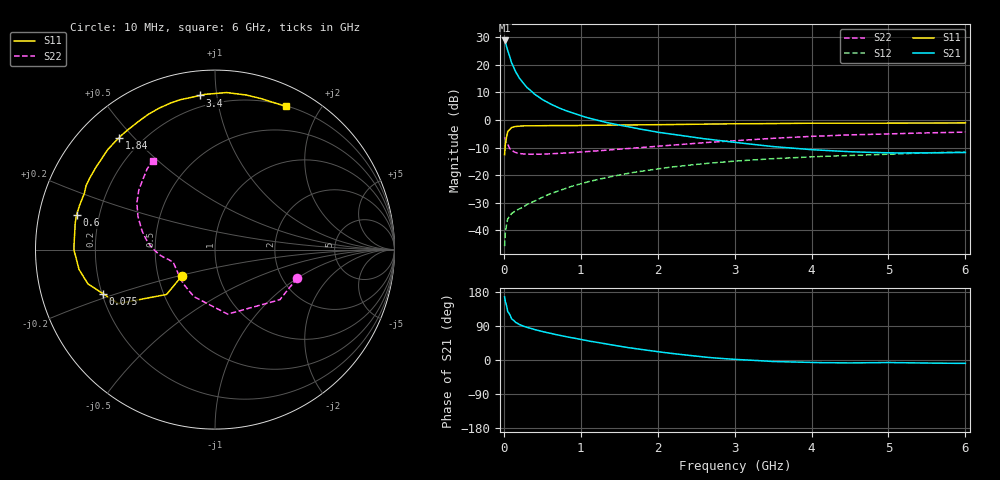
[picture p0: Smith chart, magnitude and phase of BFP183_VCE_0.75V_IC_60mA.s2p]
! Infineon Technologies  Discrete & RF Semiconductors
! BFP183
! VCE = 0.75V,  IC =  60 mA
! Common Emitter S-Parameters:  Jan 2016
# GHz  S  MA  R  50
!  f  S11  S21  S12  S22
! GHz  MAG  ANG  MAG  ANG  MAG  ANG  MAG  ANG
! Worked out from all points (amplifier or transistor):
!   210 points, 10 MHz to 6 GHz, reference 50 ohm
!   highest |S21| = 28.8 dB at 10 MHz (marker M1)
!   |S21| within 3 dB of that: start of sweep to 43.28 MHz
!   unconditionally stable (mu >= 1): start of sweep to 44.65 MHz; 104.6 MHz to end of sweep
!   at 185 MHz: K = 1.33, MAG = 20.8 dB, |S12| = -32.4 dB
!   at 1.52 GHz: K = 2.07, MAG = 3.1 dB, |S12| = -19.8 dB
!   at 6 GHz: K = 1.51, MAG = -4.3 dB, |S12| = -11.6 dB
!   S11 on the Smith chart (normalised r, x): 10 MHz: 0.66, -0.21; 75 MHz: 0.20, -0.18; 600 MHz: 0.12, +0.12; 1.84 GHz: 0.12, +0.46; 3.4 GHz: 0.13, +0.90; 6 GHz: 0.21, +1.59
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0.01  0.2365 -141.5  27.67 166.4  0.0052 59.4  0.4846 -19.2
0.02  0.3677 -137.2  25.77 154.0  0.0093 58.4  0.4566 -37.7
0.05  0.6168 -150.8  18.34 127.9  0.0162 46.1  0.3663 -78.9
0.075  0.6699 -158.5  14.44 120.8  0.0181 41.0  0.3115 -94.4
0.1  0.7332 -164.9  10.92 108.8  0.0202 36.9  0.2871 -114.3
0.15  0.7657 -171.7  7.61 99.6  0.0227 37.8  0.2599 -132.4
0.2  0.7746 -176.4  5.798 93.8  0.0246 41.7  0.2488 -142.2
0.24  0.7837 -179.1  4.892 90.4  0.026 43.6  0.2443 -147.2
0.3  0.786 177.5  3.898 86.0  0.0295 47.5  0.2413 -152.9
0.4  0.787 173.1  2.941 80.0  0.0341 51.6  0.2408 -158.1
0.5  0.7927 169.4  2.355 75.1  0.04 54.2  0.2415 -161.1
0.6  0.7952 166.0  1.978 70.4  0.046 56.3  0.2446 -163.2
0.8  0.793 159.8  1.49 61.9  0.0575 58.3  0.2532 -165.7
1.02  0.8021 153.0  1.176 53.5  0.0713 58.3  0.265 -168.0
1.3  0.8068 145.2  0.926 43.3  0.0888 56.8  0.2827 -170.5
1.84  0.8212 130.5  0.662 26.5  0.1213 51.2  0.3235 -177.1
2.02  0.8254 125.7  0.597 21.4  0.1317 48.9  0.3369 -179.4
3.1  0.8571 101.3  0.381 0.7  0.1842 34.5  0.4322 163.0
3.4  0.8629 95.5  0.343 -2.7  0.1958 30.6  0.458 158.2
4.1  0.8766 84.4  0.286 -6.9  0.2186 21.9  0.5131 147.6
5.1  0.8796 72.1  0.254 -7.0  0.2438 11.8  0.5667 134.3
6  0.8903 63.7  0.259 -8.9  0.2643 2.0  0.6052 125.1
